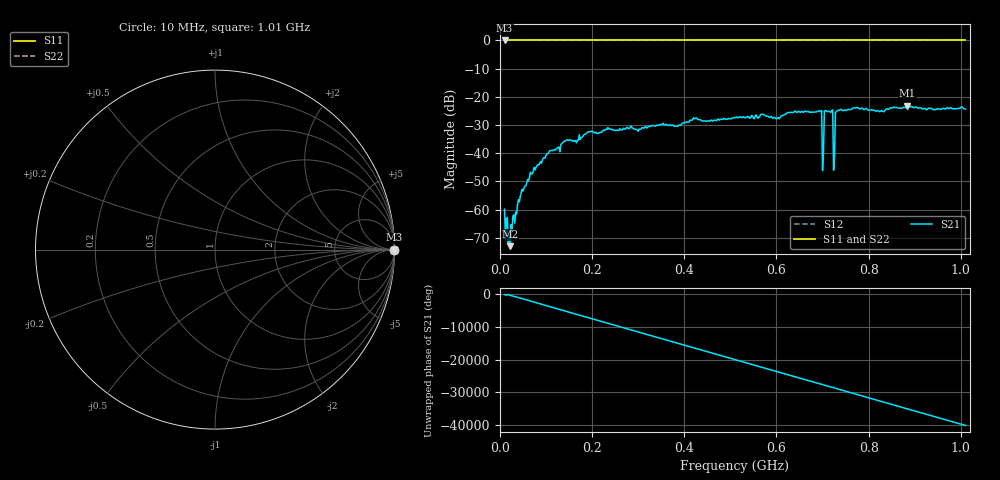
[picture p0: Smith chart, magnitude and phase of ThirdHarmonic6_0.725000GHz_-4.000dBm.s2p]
! 8/16/2025 12:14:23 AM
! C:\ANRITSUVNA\TEMP\TEMP.S2P
! CHANNEL.1
! TR.MEASUREMENT
! RAW.DATA
! RF.CORRECTION.OFF
! AVERAGING.OFF
! IF.BANDWIDTH: 5KHZ
! SWEEPTYPE:  FREQ.SWEEP(Linear)
! Reference Plane Port Info
! PORT:  PORT1  PORT2
! DISTANCE:  0  m  0  m
! TIME:  0  s  0  s
! PHASE.OFFSET:  0  deg.  0  deg.
! LOSS:  0  dB  0  dB
! REF.LOSS:  0  dB  0  dB
! REF.FREQ:  0  Hz  0  Hz
! Power Info
! POWER:  -20  dBm  -20  dBm
! EFF.POWER:  -20  dBm  -20  dBm
! SOURCE.ATTEN:  0  dB  0  dB
! TEST.ATTEN:  0  dB  0  dB
# GHZ S RI R 50.0
! FREQ.GHZ  S11RE  S11IM  S21RE  S21IM  S12RE  S12IM  S22RE  S22IM
!; PortSelection: Port_12
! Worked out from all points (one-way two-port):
!   501 points, 10 MHz to 1.01 GHz, reference 50 ohm
!   highest |S21| = -23.16 dB at 884 MHz (marker M1); lowest = -73.0 dB at 22 MHz (marker M2)
!   lowest |S11| = 0.0 dB at 10 MHz (marker M3)
!   |S11| at or under -10 dB: nowhere
!   |S22| runs from 0.0 to 0.0 dB; largest |S21 - S12| = 1.1
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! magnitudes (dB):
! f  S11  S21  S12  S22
! 10 MHz  0.0  -59.9  0.0  0.0
! 22 MHz  0.0  -73.0  0.0  0.0
! 44 MHz  0.0  -55.3  0.0  0.0
! 70 MHz  0.0  -47.3  0.0  0.0
! 106 MHz  0.0  -39.6  0.0  0.0
! 178 MHz  0.0  -34.4  0.0  0.0
! 344 MHz  0.0  -30.2  0.0  0.0
! 510 MHz  0.0  -27.3  0.0  0.0
! 678 MHz  0.0  -25.5  0.0  0.0
! 694 MHz  0.0  -25.0  0.0  0.0
! 698 MHz  0.0  -24.9  0.0  0.0
! 700 MHz  0.0  -46.2  0.0  0.0
! 704 MHz  0.0  -25.1  0.0  0.0
! 708 MHz  0.0  -25.0  0.0  0.0
! 718 MHz  0.0  -25.5  0.0  0.0
! 722 MHz  0.0  -24.6  0.0  0.0
! 728 MHz  0.0  -25.5  0.0  0.0
! 732 MHz  0.0  -25.0  0.0  0.0
! 736 MHz  0.0  -24.7  0.0  0.0
! 844 MHz  0.0  -24.3  0.0  0.0
! 884 MHz  0.0  -23.2  0.0  0.0
! 1.01 GHz  0.0  -24.4  0.0  0.0
